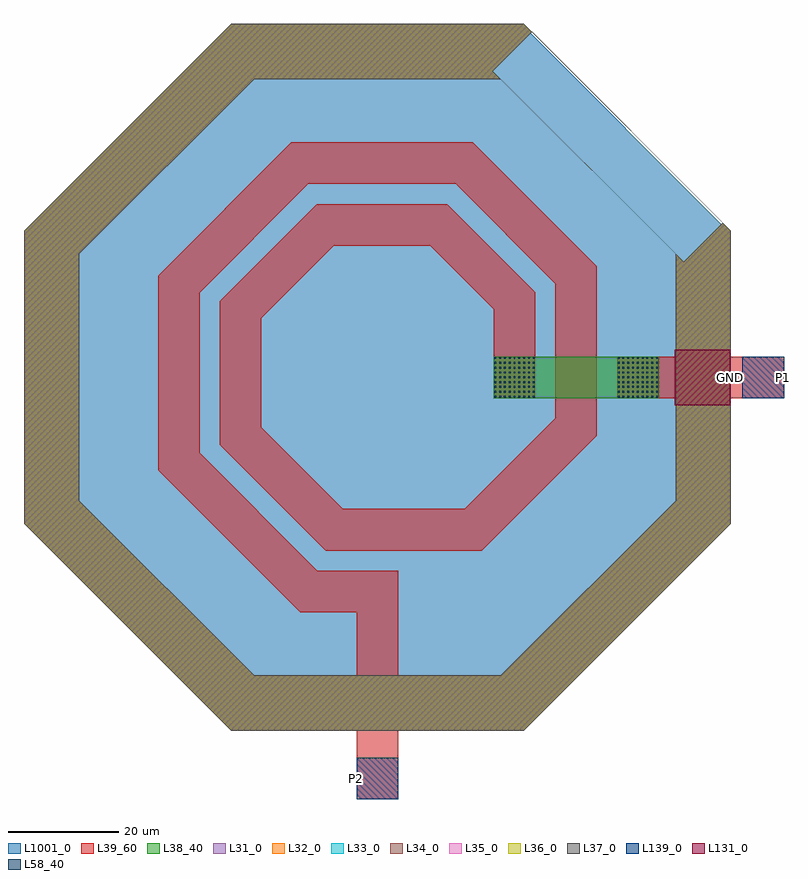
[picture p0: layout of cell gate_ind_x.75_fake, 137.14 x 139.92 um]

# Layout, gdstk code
import gdstk
lib = gdstk.Library(unit=1e-6, precision=1e-09)
def R(c, l, rs):  # rectangles x0, y0, x1, y1
    for r in rs: c.add(gdstk.rectangle(r[:2], r[2:], *l))
def A(c, l, x, y, w, h, nx, ny, dx, dy):  # array of equal rectangles
    R(c, l, [(x+i*dx, y+j*dy, x+i*dx+w, y+j*dy+h) for i in range(nx) for j in range(ny)])
def P(c, l, *ps):  # polygons
    for p in ps: c.add(gdstk.Polygon(p, *l))
L31_0 = (31, 0)
L32_0 = (32, 0)
L33_0 = (33, 0)
L34_0 = (34, 0)
L35_0 = (35, 0)
L36_0 = (36, 0)
L37_0 = (37, 0)
L38_40 = (38, 40)
L39_60 = (39, 60)
L58_40 = (58, 40)
L131_0 = (131, 0)
L139_0 = (139, 0)
L1001_0 = (1001, 0)

gate_ind_x_75_fake = lib.new_cell('gate_ind_x.75_fake')
P(gate_ind_x_75_fake, L31_0, [(55.251,20.814),(62.322,27.886),(26.421,63.786),(-26.421,63.786),(-63.786,26.421),(-63.786,-26.421),(-26.421,-63.786),(26.421,-63.786),(63.786,-26.421),(63.786,26.421),(27.886,62.322),(20.814,55.251),(53.786,22.279),(53.786,-22.279),(22.279,-53.786),(-22.279,-53.786),(-53.786,-22.279),(-53.786,22.279),(-22.279,53.786),(22.279,53.786)])
P(gate_ind_x_75_fake, L32_0, [(55.251,20.814),(62.322,27.886),(26.421,63.786),(-26.421,63.786),(-63.786,26.421),(-63.786,-26.421),(-26.421,-63.786),(26.421,-63.786),(63.786,-26.421),(63.786,26.421),(27.886,62.322),(20.814,55.251),(53.786,22.279),(53.786,-22.279),(22.279,-53.786),(-22.279,-53.786),(-53.786,-22.279),(-53.786,22.279),(-22.279,53.786),(22.279,53.786)])
P(gate_ind_x_75_fake, L33_0, [(55.251,20.814),(62.322,27.886),(26.421,63.786),(-26.421,63.786),(-63.786,26.421),(-63.786,-26.421),(-26.421,-63.786),(26.421,-63.786),(63.786,-26.421),(63.786,26.421),(27.886,62.322),(20.814,55.251),(53.786,22.279),(53.786,-22.279),(22.279,-53.786),(-22.279,-53.786),(-53.786,-22.279),(-53.786,22.279),(-22.279,53.786),(22.279,53.786)])
P(gate_ind_x_75_fake, L34_0, [(55.251,20.814),(62.322,27.886),(26.421,63.786),(-26.421,63.786),(-63.786,26.421),(-63.786,-26.421),(-26.421,-63.786),(26.421,-63.786),(63.786,-26.421),(63.786,26.421),(27.886,62.322),(20.814,55.251),(53.786,22.279),(53.786,-22.279),(22.279,-53.786),(-22.279,-53.786),(-53.786,-22.279),(-53.786,22.279),(-22.279,53.786),(22.279,53.786)])
P(gate_ind_x_75_fake, L35_0, [(55.251,20.814),(62.322,27.886),(26.421,63.786),(-26.421,63.786),(-63.786,26.421),(-63.786,-26.421),(-26.421,-63.786),(26.421,-63.786),(63.786,-26.421),(63.786,26.421),(27.886,62.322),(20.814,55.251),(53.786,22.279),(53.786,-22.279),(22.279,-53.786),(-22.279,-53.786),(-53.786,-22.279),(-53.786,22.279),(-22.279,53.786),(22.279,53.786)])
P(gate_ind_x_75_fake, L36_0, [(55.251,20.814),(62.322,27.886),(26.421,63.786),(-26.421,63.786),(-63.786,26.421),(-63.786,-26.421),(-26.421,-63.786),(26.421,-63.786),(63.786,-26.421),(63.786,26.421),(27.886,62.322),(20.814,55.251),(53.786,22.279),(53.786,-22.279),(22.279,-53.786),(-22.279,-53.786),(-53.786,-22.279),(-53.786,22.279),(-22.279,53.786),(22.279,53.786)])
P(gate_ind_x_75_fake, L37_0, [(55.251,20.814),(62.322,27.886),(26.421,63.786),(-26.421,63.786),(-63.786,26.421),(-63.786,-26.421),(-26.421,-63.786),(26.421,-63.786),(63.786,-26.421),(63.786,26.421),(27.886,62.322),(20.814,55.251),(53.786,22.279),(53.786,-22.279),(22.279,-53.786),(-22.279,-53.786),(-53.786,-22.279),(-53.786,22.279),(-22.279,53.786),(22.279,53.786)])
R(gate_ind_x_75_fake, L38_40, [(20.975,-3.75,50.725,3.75)])
P(gate_ind_x_75_fake, L38_40, [(55.251,20.814),(62.322,27.886),(26.421,63.786),(-26.421,63.786),(-63.786,26.421),(-63.786,-26.421),(-26.421,-63.786),(26.421,-63.786),(63.786,-26.421),(63.786,26.421),(27.886,62.322),(20.814,55.251),(53.786,22.279),(53.786,-22.279),(22.279,-53.786),(-22.279,-53.786),(-53.786,-22.279),(-53.786,22.279),(-22.279,53.786),(22.279,53.786)])
R(gate_ind_x_75_fake, L39_60, [(-3.75,-76.13,3.75,-34.88), (43.225,-3.75,73.35,3.75)])
P(gate_ind_x_75_fake, L39_60, [(20.975,-3.75),(28.475,-3.75),(28.475,15.388),(12.608,31.255),(-10.978,31.255),(-28.475,13.758),(-28.475,-12.134),(-9.348,-31.255),(18.848,-31.255),(39.6,-10.503),(39.6,19.998),(17.218,42.38),(-15.588,42.38),(-39.6,18.368),(-39.6,-16.738),(-13.958,-42.38),(0,-42.38),(0,-34.88),(-10.852,-34.88),(-32.1,-13.632),(-32.1,15.262),(-12.482,34.88),(14.112,34.88),(32.1,16.892),(32.1,-7.397),(15.742,-23.755),(-6.242,-23.755),(-20.975,-9.026),(-20.975,10.652),(-7.872,23.755),(9.502,23.755),(20.975,12.282)],
  [(55.251,20.814),(62.322,27.886),(26.421,63.786),(-26.421,63.786),(-63.786,26.421),(-63.786,-26.421),(-26.421,-63.786),(26.421,-63.786),(63.786,-26.421),(63.786,26.421),(27.886,62.322),(20.814,55.251),(53.786,22.279),(53.786,-22.279),(22.279,-53.786),(-22.279,-53.786),(-53.786,-22.279),(-53.786,22.279),(-22.279,53.786),(22.279,53.786)])
A(gate_ind_x_75_fake, L58_40, 21.068, -3.655, 0.35, 0.35, 9, 9, 0.87, 0.87)
A(gate_ind_x_75_fake, L58_40, 43.318, -3.655, 0.35, 0.35, 9, 9, 0.87, 0.87)
R(gate_ind_x_75_fake, L131_0, [(53.63,-5,63.63,5)])
R(gate_ind_x_75_fake, L139_0, [(-3.75,-76.13,3.75,-68.63), (65.85,-3.75,73.35,3.75)])
P(gate_ind_x_75_fake, L1001_0, [(63.406,26.263),(26.263,63.406),(-26.263,63.406),(-63.406,26.263),(-63.406,-26.263),(-26.263,-63.406),(26.263,-63.406),(63.406,-26.263)],
  [(63.406,26.263),(26.263,63.406),(-26.263,63.406),(-63.406,26.263),(-63.406,-26.263),(-26.263,-63.406),(26.263,-63.406),(63.406,-26.263)],
  [(63.406,26.263),(26.263,63.406),(-26.263,63.406),(-63.406,26.263),(-63.406,-26.263),(-26.263,-63.406),(26.263,-63.406),(63.406,-26.263)],
  [(63.406,26.263),(26.263,63.406),(-26.263,63.406),(-63.406,26.263),(-63.406,-26.263),(-26.263,-63.406),(26.263,-63.406),(63.406,-26.263)],
  [(63.406,26.263),(26.263,63.406),(-26.263,63.406),(-63.406,26.263),(-63.406,-26.263),(-26.263,-63.406),(26.263,-63.406),(63.406,-26.263)],
  [(63.406,26.263),(26.263,63.406),(-26.263,63.406),(-63.406,26.263),(-63.406,-26.263),(-26.263,-63.406),(26.263,-63.406),(63.406,-26.263)],
  [(63.406,26.263),(26.263,63.406),(-26.263,63.406),(-63.406,26.263),(-63.406,-26.263),(-26.263,-63.406),(26.263,-63.406),(63.406,-26.263)],
  [(63.406,26.263),(26.263,63.406),(-26.263,63.406),(-63.406,26.263),(-63.406,-26.263),(-26.263,-63.406),(26.263,-63.406),(63.406,-26.263)],
  [(63.406,26.263),(26.263,63.406),(-26.263,63.406),(-63.406,26.263),(-63.406,-26.263),(-26.263,-63.406),(26.263,-63.406),(63.406,-26.263)])
gate_ind_x_75_fake.add(gdstk.Label('P1', (73.348,0), layer=139, texttype=0))
gate_ind_x_75_fake.add(gdstk.Label('P2', (-3.75,-72.38), layer=139, texttype=0))
gate_ind_x_75_fake.add(gdstk.Label('GND', (63.63,0), layer=131, texttype=0))

lib.write_gds('gate_ind_x.75_fake.gds')
